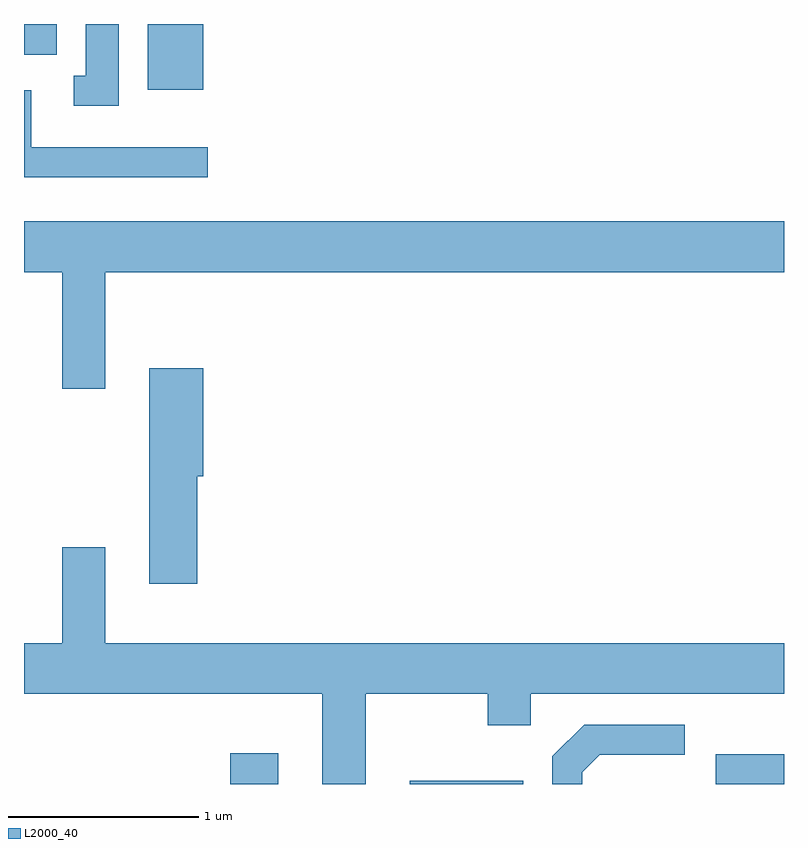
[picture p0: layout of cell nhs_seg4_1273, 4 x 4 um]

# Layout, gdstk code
import gdstk
lib = gdstk.Library(unit=1e-6, precision=1e-09)
def R(c, l, rs):  # rectangles x0, y0, x1, y1
    for r in rs: c.add(gdstk.rectangle(r[:2], r[2:], *l))
def P(c, l, *ps):  # polygons
    for p in ps: c.add(gdstk.Polygon(p, *l))
L2000_40 = (2000, 40)

nhs_seg4_1273 = lib.new_cell('nhs_seg4_1273')
R(nhs_seg4_1273, L2000_40, [(222.696,1351.982,222.949,1352.144), (223.641,1351.982,224.239,1351.999), (225.251,1351.982,225.611,1352.139), (222.261,1355.636,222.554,1355.982), (221.611,1355.821,221.784,1355.982)])
P(nhs_seg4_1273, L2000_40, [(222.109,1355.982),(221.936,1355.982),(221.936,1355.709),(221.873,1355.709),(221.873,1355.551),(222.109,1355.551)],
  [(222.578,1355.334),(221.649,1355.334),(221.649,1355.634),(221.611,1355.634),(221.611,1355.176),(222.578,1355.176)],
  [(222.039,1354.676),(225.611,1354.676),(225.611,1354.944),(221.611,1354.944),(221.611,1354.676),(221.811,1354.676),(221.811,1354.061),(222.039,1354.061)],
  [(222.524,1353.601),(222.554,1353.601),(222.554,1354.169),(222.271,1354.169),(222.271,1353.036),(222.524,1353.036)],
  [(223.409,1352.456),(224.051,1352.456),(224.051,1352.291),(224.279,1352.291),(224.279,1352.456),(225.611,1352.456),(225.611,1352.724),(222.039,1352.724),(222.039,1353.229),(221.811,1353.229),(221.811,1352.724),(221.611,1352.724),(221.611,1352.456),(223.181,1352.456),(223.181,1351.982),(223.409,1351.982)],
  [(224.549,1352.044),(224.642,1352.136),(225.088,1352.136),(225.088,1352.294),(224.559,1352.294),(224.391,1352.127),(224.391,1351.982),(224.549,1351.982)])

lib.write_gds('nhs_seg4_1273.gds')
